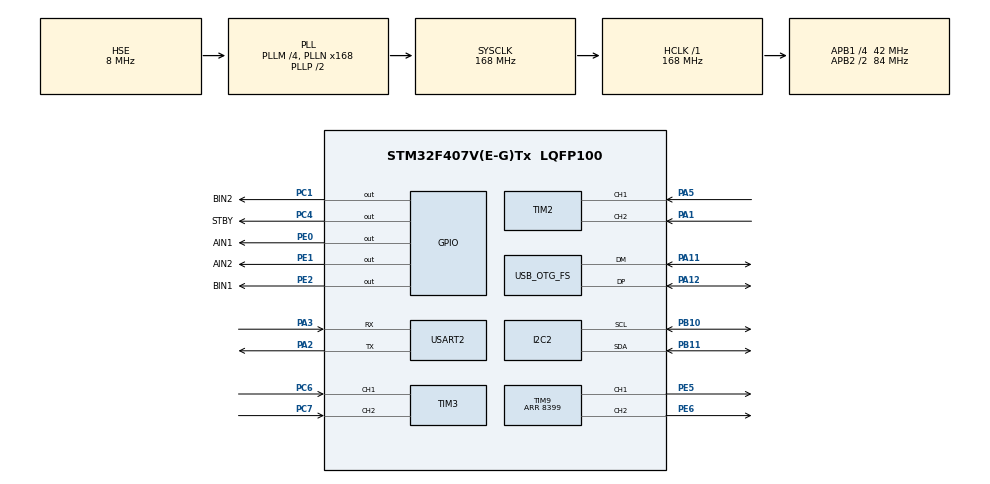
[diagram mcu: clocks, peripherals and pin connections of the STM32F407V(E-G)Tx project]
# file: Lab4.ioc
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I2C2.I2C_Mode=I2C_Fast
Mcu.Family=STM32F4
Mcu.Name=STM32F407V(E-G)Tx
Mcu.Package=LQFP100
NVIC.OTG_FS_IRQn=true\:0\:0\:false\:false\:true\:false\:true\:true
NVIC.PriorityGroup=NVIC_PRIORITYGROUP_4
NVIC.USART2_IRQn=true\:0\:0\:false\:false\:true\:true\:true\:true
PA1.Signal=S_TIM2_CH2
PA11.Mode=Device_Only
PA11.Signal=USB_OTG_FS_DM
PA12.Mode=Device_Only
PA12.Signal=USB_OTG_FS_DP
PA13.Mode=Serial_Wire
PA13.Signal=SYS_JTMS-SWDIO
PA14.Mode=Serial_Wire
PA14.Signal=SYS_JTCK-SWCLK
PA2.Mode=Asynchronous
PA2.Signal=USART2_TX
PA3.Mode=Asynchronous
PA3.Signal=USART2_RX
PA5.Signal=S_TIM2_CH1_ETR
PB10.Mode=I2C
PB10.Signal=I2C2_SCL
PB11.Mode=I2C
PB11.Signal=I2C2_SDA
PC1.GPIO_Label=BIN2
PC1.Signal=GPIO_Output
PC4.GPIO_Label=STBY
PC4.PinState=GPIO_PIN_SET
PC4.Signal=GPIO_Output
PC6.Signal=S_TIM3_CH1
PC7.Signal=S_TIM3_CH2
PE0.GPIO_Label=AIN1
PE0.Signal=GPIO_Output
PE1.GPIO_Label=AIN2
PE1.Signal=GPIO_Output
PE2.GPIO_Label=BIN1
PE2.Signal=GPIO_Output
PE5.Signal=S_TIM9_CH1
PE6.Signal=S_TIM9_CH2
PH0-OSC_IN.Mode=HSE-External-Oscillator
PH0-OSC_IN.Signal=RCC_OSC_IN
PH1-OSC_OUT.Mode=HSE-External-Oscillator
PH1-OSC_OUT.Signal=RCC_OSC_OUT
ProjectManager.HeapSize=0x1000
ProjectManager.StackSize=0x800
ProjectManager.TargetToolchain=STM32CubeIDE
RCC.48MHZClocksFreq_Value=48000000
RCC.AHBFreq_Value=168000000
RCC.APB1CLKDivider=RCC_HCLK_DIV4
RCC.APB1Freq_Value=42000000
RCC.APB1TimFreq_Value=84000000
RCC.APB2CLKDivider=RCC_HCLK_DIV2
RCC.APB2Freq_Value=84000000
RCC.APB2TimFreq_Value=168000000
RCC.CortexFreq_Value=168000000
RCC.HCLKFreq_Value=168000000
RCC.HSE_VALUE=8000000
RCC.HSI_VALUE=16000000
RCC.LSE_VALUE=32768
RCC.PLLM=4
RCC.PLLN=168
RCC.PLLQ=7
RCC.SYSCLKFreq_VALUE=168000000
RCC.SYSCLKSource=RCC_SYSCLKSOURCE_PLLCLK
RCC.VCOOutputFreq_Value=336000000
SH.S_TIM2_CH1_ETR.0=TIM2_CH1,Encoder_Interface
SH.S_TIM2_CH2.0=TIM2_CH2,Encoder_Interface
SH.S_TIM3_CH1.0=TIM3_CH1,Encoder_Interface
SH.S_TIM3_CH2.0=TIM3_CH2,Encoder_Interface
SH.S_TIM9_CH1.0=TIM9_CH1,PWM Generation1 CH1
SH.S_TIM9_CH2.0=TIM9_CH2,PWM Generation2 CH2
TIM2.EncoderMode=TIM_ENCODERMODE_TI12
TIM2.IC1Filter=6
TIM2.IC2Filter=6
TIM3.EncoderMode=TIM_ENCODERMODE_TI12
TIM3.IC1Filter=6
TIM3.IC2Filter=6
TIM9.AutoReloadPreload=TIM_AUTORELOAD_PRELOAD_ENABLE
TIM9.Channel-PWM\ Generation1\ CH1=TIM_CHANNEL_1
TIM9.Channel-PWM\ Generation2\ CH2=TIM_CHANNEL_2
TIM9.Period=8399
USART2.VirtualMode=VM_ASYNC
USB_DEVICE.CLASS_NAME_FS=CDC
USB_DEVICE.VirtualMode-CDC_FS=Cdc
USB_DEVICE.VirtualModeFS=Cdc_FS
USB_OTG_FS.VirtualMode=Device_Only
VP_TIM9_VS_ClockSourceINT.Mode=Internal
VP_USB_DEVICE_VS_USB_DEVICE_CDC_FS.Mode=CDC_FS
board=custom

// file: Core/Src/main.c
/* USER CODE BEGIN Header */
/**
  ******************************************************************************
  * @file           : main.c
  * @brief          : Main program body
  ******************************************************************************
  * @attention
  *
  * Copyright (c) 2026 STMicroelectronics.
  * All rights reserved.
  *
  * This software is licensed under terms that can be found in the LICENSE file
  * in the root directory of this software component.
  * If no LICENSE file comes with this software, it is provided AS-IS.
  *
  ******************************************************************************
  */
/* USER CODE END Header */
#include "main.h"
#include "usb_device.h"

/* USER CODE BEGIN Includes */
#include "usbd_cdc_if.h"
#include <stdio.h>
#include <string.h>

#include "mpu6050.h"
#include <math.h>
#include "motor.h"
#include "balance.h"

#include "comm.h"
/* USER CODE END Includes */

/* USER CODE BEGIN PD */
#define LOOP_CYCLES  (168000000UL / 200UL)   // 5 ms @ 168 MHz

#define WHEEL_CIRC_M  0.21363f   // pi * 0.068 m
#define ENC_CPR_A     900.0f    // DEM/VONG BANH, thay bang so ban do (enc_tim3)
#define ENC_CPR_B     900.0f    // thay bang so ban do (enc_tim2)
#define ENC_SIGN_A    (-1.0f)     // +1 hoac -1
#define ENC_SIGN_B    (-1.0f)

#define YAW_SIGN  (-1.0f)     // doi thanh +1.0f neu yaw_rate bi nguoc (xem buoc 4)

/* USER CODE END PD */

I2C_HandleTypeDef hi2c2;

TIM_HandleTypeDef htim2;
TIM_HandleTypeDef htim3;
TIM_HandleTypeDef htim9;

UART_HandleTypeDef huart2;

/* USER CODE BEGIN PV */
volatile int     mpu_ok  = 0;     // 0 = chua init, 1 = OK, -1 = loi I2C
volatile uint8_t mpu_who = 0;     // gia tri WHO_AM_I
volatile float   ax, ay, az;      // gia toc (g)
volatile float   gx, gy, gz;      // toc do goc (do/giay)
volatile uint32_t read_err = 0;   // so lan doc I2C that bai

volatile float angle = 0;       // goc sau bo loc (do)
volatile float angle_acc = 0;   // goc chi tinh tu accel (do)

volatile float   test_a = 0, test_b = 0;   // -1.0 .. 1.0 (bat dau thu voi 0.2)
volatile int32_t enc_tim3 = 0, enc_tim2 = 0;

volatile float v_a = 0, v_b = 0, v_f = 0;   // m/s, duong = ve phia am

volatile float yaw_rate = 0;  // do/giay, duong = dang re phai

/* USER CODE END PV */

void SystemClock_Config(void);
static void MX_GPIO_Init(void);
static void MX_TIM2_Init(void);
static void MX_TIM3_Init(void);
static void MX_TIM9_Init(void);
static void MX_I2C2_Init(void);
static void MX_USART2_UART_Init(void);

int main(void)
{

  /* MCU Configuration--------------------------------------------------------*/

  /* Reset of all peripherals, Initializes the Flash interface and the Systick. */
  HAL_Init();

  /* Configure the system clock */
  SystemClock_Config();

  /* Initialize all configured peripherals */
  MX_GPIO_Init();
  MX_TIM2_Init();
  MX_TIM3_Init();
  MX_TIM9_Init();
  MX_USB_DEVICE_Init();
  MX_I2C2_Init();
  MX_USART2_UART_Init();
  /* USER CODE BEGIN 2 */
  uint8_t who = 0;
  if (MPU6050_Init(&hi2c2, &who) == HAL_OK) {
      mpu_who = who;
      mpu_ok = 1;
      HAL_Delay(1500);                       // giu xe dung yen
      MPU6050_CalibrateGyro(&hi2c2, 500);
  } else {
      mpu_ok = -1;
  }

  Motor_Init(&htim9);
  HAL_TIM_Encoder_Start(&htim3, TIM_CHANNEL_ALL);
  HAL_TIM_Encoder_Start(&htim2, TIM_CHANNEL_ALL);

  Balance_Init();
  CoreDebug->DEMCR |= CoreDebug_DEMCR_TRCENA_Msk;
  DWT->CYCCNT = 0;
  DWT->CTRL |= DWT_CTRL_CYCCNTENA_Msk;

  Comm_Init(&huart2);
  /* USER CODE END 2 */

  /* Infinite loop */
  /* USER CODE BEGIN WHILE */
  MPU6050_Data d;
    uint32_t t_prev = DWT->CYCCNT;
    uint8_t  first = 1;
    int      fail = 0;
    uint16_t last3 = (uint16_t)__HAL_TIM_GET_COUNTER(&htim3);
    uint32_t last2 = __HAL_TIM_GET_COUNTER(&htim2);
  while (1)
  {
	  // doi du 5 ms (200 Hz)
	       while ((DWT->CYCCNT - t_prev) < LOOP_CYCLES) {}
	       uint32_t now = DWT->CYCCNT;
	       float dt = (now - t_prev) / 168000000.0f;
	       t_prev = now;

	       // 1. doc MPU va tinh goc
	       if (mpu_ok == 1 && MPU6050_Read(&hi2c2, &d) == HAL_OK) {
	           fail = 0;
	           ax = d.ax; ay = d.ay; az = d.az;
	           gx = d.gx; gy = d.gy; gz = d.gz;
	           yaw_rate = YAW_SIGN * d.gz;
	           angle_acc = atan2f(d.ay, d.az) * 57.29578f;
	           if (first) { angle = angle_acc; first = 0; }
	           else       angle = 0.98f * (angle + d.gx * dt) + 0.02f * angle_acc;
	       } else {
	           read_err++;
	           fail++;
	       }

	       // 2. doc encoder va tinh toc do (m/s)
	       uint16_t c3 = (uint16_t)__HAL_TIM_GET_COUNTER(&htim3);
	       uint32_t c2 = __HAL_TIM_GET_COUNTER(&htim2);
	       int16_t  d3 = (int16_t)(c3 - last3);  last3 = c3;
	       int32_t  d2 = (int32_t)(c2 - last2);  last2 = c2;
	       v_a = ENC_SIGN_A * (d3 / ENC_CPR_A) * WHEEL_CIRC_M / dt;
	       v_b = ENC_SIGN_B * (d2 / ENC_CPR_B) * WHEEL_CIRC_M / dt;
	       v_f += 0.2f * (0.5f * (v_a + v_b) - v_f);

	       // 3. can bang (vong goc + vong toc do neu spd_on = 1)
	       Balance_Update(angle, gx, dt, fail < 3, v_f, yaw_rate);
	       Comm_Process(HAL_GetTick());

	       enc_tim3 = (int16_t)c3;
	       enc_tim2 = (int32_t)c2;
    /* USER CODE END WHILE */

  }
}

void SystemClock_Config(void)
{
  RCC_OscInitTypeDef RCC_OscInitStruct = {0};
  RCC_ClkInitTypeDef RCC_ClkInitStruct = {0};

  /** Configure the main internal regulator output voltage
  */
  __HAL_RCC_PWR_CLK_ENABLE();
  __HAL_PWR_VOLTAGESCALING_CONFIG(PWR_REGULATOR_VOLTAGE_SCALE1);

  /** Initializes the RCC Oscillators according to the specified parameters
  * in the RCC_OscInitTypeDef structure.
  */
  RCC_OscInitStruct.OscillatorType = RCC_OSCILLATORTYPE_HSE;
  RCC_OscInitStruct.HSEState = RCC_HSE_ON;
  RCC_OscInitStruct.PLL.PLLState = RCC_PLL_ON;
  RCC_OscInitStruct.PLL.PLLSource = RCC_PLLSOURCE_HSE;
  RCC_OscInitStruct.PLL.PLLM = 4;
  RCC_OscInitStruct.PLL.PLLN = 168;
  RCC_OscInitStruct.PLL.PLLP = RCC_PLLP_DIV2;
  RCC_OscInitStruct.PLL.PLLQ = 7;
  if (HAL_RCC_OscConfig(&RCC_OscInitStruct) != HAL_OK)
  {
    Error_Handler();
  }

  /** Initializes the CPU, AHB and APB buses clocks
  */
  RCC_ClkInitStruct.ClockType = RCC_CLOCKTYPE_HCLK|RCC_CLOCKTYPE_SYSCLK
                              |RCC_CLOCKTYPE_PCLK1|RCC_CLOCKTYPE_PCLK2;
  RCC_ClkInitStruct.SYSCLKSource = RCC_SYSCLKSOURCE_PLLCLK;
  RCC_ClkInitStruct.AHBCLKDivider = RCC_SYSCLK_DIV1;
  RCC_ClkInitStruct.APB1CLKDivider = RCC_HCLK_DIV4;
  RCC_ClkInitStruct.APB2CLKDivider = RCC_HCLK_DIV2;

  if (HAL_RCC_ClockConfig(&RCC_ClkInitStruct, FLASH_LATENCY_5) != HAL_OK)
  {
    Error_Handler();
  }
}

static void MX_I2C2_Init(void)
{

  hi2c2.Instance = I2C2;
  hi2c2.Init.ClockSpeed = 400000;
  hi2c2.Init.DutyCycle = I2C_DUTYCYCLE_2;
  hi2c2.Init.OwnAddress1 = 0;
  hi2c2.Init.AddressingMode = I2C_ADDRESSINGMODE_7BIT;
  hi2c2.Init.DualAddressMode = I2C_DUALADDRESS_DISABLE;
  hi2c2.Init.OwnAddress2 = 0;
  hi2c2.Init.GeneralCallMode = I2C_GENERALCALL_DISABLE;
  hi2c2.Init.NoStretchMode = I2C_NOSTRETCH_DISABLE;
  if (HAL_I2C_Init(&hi2c2) != HAL_OK)
  {
    Error_Handler();
  }

}

static void MX_TIM2_Init(void)
{

  TIM_Encoder_InitTypeDef sConfig = {0};
  TIM_MasterConfigTypeDef sMasterConfig = {0};

  htim2.Instance = TIM2;
  htim2.Init.Prescaler = 0;
  htim2.Init.CounterMode = TIM_COUNTERMODE_UP;
  htim2.Init.Period = 4294967295;
  htim2.Init.ClockDivision = TIM_CLOCKDIVISION_DIV1;
  htim2.Init.AutoReloadPreload = TIM_AUTORELOAD_PRELOAD_DISABLE;
  sConfig.EncoderMode = TIM_ENCODERMODE_TI12;
  sConfig.IC1Polarity = TIM_ICPOLARITY_RISING;
  sConfig.IC1Selection = TIM_ICSELECTION_DIRECTTI;
  sConfig.IC1Prescaler = TIM_ICPSC_DIV1;
  sConfig.IC1Filter = 6;
  sConfig.IC2Polarity = TIM_ICPOLARITY_RISING;
  sConfig.IC2Selection = TIM_ICSELECTION_DIRECTTI;
  sConfig.IC2Prescaler = TIM_ICPSC_DIV1;
  sConfig.IC2Filter = 6;
  if (HAL_TIM_Encoder_Init(&htim2, &sConfig) != HAL_OK)
  {
    Error_Handler();
  }
  sMasterConfig.MasterOutputTrigger = TIM_TRGO_RESET;
  sMasterConfig.MasterSlaveMode = TIM_MASTERSLAVEMODE_DISABLE;
  if (HAL_TIMEx_MasterConfigSynchronization(&htim2, &sMasterConfig) != HAL_OK)
  {
    Error_Handler();
  }

}

static void MX_TIM3_Init(void)
{

  TIM_Encoder_InitTypeDef sConfig = {0};
  TIM_MasterConfigTypeDef sMasterConfig = {0};

  htim3.Instance = TIM3;
  htim3.Init.Prescaler = 0;
  htim3.Init.CounterMode = TIM_COUNTERMODE_UP;
  htim3.Init.Period = 65535;
  htim3.Init.ClockDivision = TIM_CLOCKDIVISION_DIV1;
  htim3.Init.AutoReloadPreload = TIM_AUTORELOAD_PRELOAD_DISABLE;
  sConfig.EncoderMode = TIM_ENCODERMODE_TI12;
  sConfig.IC1Polarity = TIM_ICPOLARITY_RISING;
  sConfig.IC1Selection = TIM_ICSELECTION_DIRECTTI;
  sConfig.IC1Prescaler = TIM_ICPSC_DIV1;
  sConfig.IC1Filter = 6;
  sConfig.IC2Polarity = TIM_ICPOLARITY_RISING;
  sConfig.IC2Selection = TIM_ICSELECTION_DIRECTTI;
  sConfig.IC2Prescaler = TIM_ICPSC_DIV1;
  sConfig.IC2Filter = 6;
  if (HAL_TIM_Encoder_Init(&htim3, &sConfig) != HAL_OK)
  {
    Error_Handler();
  }
  sMasterConfig.MasterOutputTrigger = TIM_TRGO_RESET;
  sMasterConfig.MasterSlaveMode = TIM_MASTERSLAVEMODE_DISABLE;
  if (HAL_TIMEx_MasterConfigSynchronization(&htim3, &sMasterConfig) != HAL_OK)
  {
    Error_Handler();
  }

}

static void MX_TIM9_Init(void)
{

  TIM_ClockConfigTypeDef sClockSourceConfig = {0};
  TIM_OC_InitTypeDef sConfigOC = {0};

  htim9.Instance = TIM9;
  htim9.Init.Prescaler = 0;
  htim9.Init.CounterMode = TIM_COUNTERMODE_UP;
  htim9.Init.Period = 8399;
  htim9.Init.ClockDivision = TIM_CLOCKDIVISION_DIV1;
  htim9.Init.AutoReloadPreload = TIM_AUTORELOAD_PRELOAD_ENABLE;
  if (HAL_TIM_Base_Init(&htim9) != HAL_OK)
  {
    Error_Handler();
  }
  sClockSourceConfig.ClockSource = TIM_CLOCKSOURCE_INTERNAL;
  if (HAL_TIM_ConfigClockSource(&htim9, &sClockSourceConfig) != HAL_OK)
  {
    Error_Handler();
  }
  if (HAL_TIM_PWM_Init(&htim9) != HAL_OK)
  {
    Error_Handler();
  }
  sConfigOC.OCMode = TIM_OCMODE_PWM1;
  sConfigOC.Pulse = 0;
  sConfigOC.OCPolarity = TIM_OCPOLARITY_HIGH;
  sConfigOC.OCFastMode = TIM_OCFAST_DISABLE;
  if (HAL_TIM_PWM_ConfigChannel(&htim9, &sConfigOC, TIM_CHANNEL_1) != HAL_OK)
  {
    Error_Handler();
  }
  if (HAL_TIM_PWM_ConfigChannel(&htim9, &sConfigOC, TIM_CHANNEL_2) != HAL_OK)
  {
    Error_Handler();
  }
  HAL_TIM_MspPostInit(&htim9);

}

static void MX_USART2_UART_Init(void)
{

  huart2.Instance = USART2;
  huart2.Init.BaudRate = 115200;
  huart2.Init.WordLength = UART_WORDLENGTH_8B;
  huart2.Init.StopBits = UART_STOPBITS_1;
  huart2.Init.Parity = UART_PARITY_NONE;
  huart2.Init.Mode = UART_MODE_TX_RX;
  huart2.Init.HwFlowCtl = UART_HWCONTROL_NONE;
  huart2.Init.OverSampling = UART_OVERSAMPLING_16;
  if (HAL_UART_Init(&huart2) != HAL_OK)
  {
    Error_Handler();
  }

}

static void MX_GPIO_Init(void)
{
  GPIO_InitTypeDef GPIO_InitStruct = {0};

  /* GPIO Ports Clock Enable */
  __HAL_RCC_GPIOE_CLK_ENABLE();
  __HAL_RCC_GPIOH_CLK_ENABLE();
  __HAL_RCC_GPIOC_CLK_ENABLE();
  __HAL_RCC_GPIOA_CLK_ENABLE();
  __HAL_RCC_GPIOB_CLK_ENABLE();

  /*Configure GPIO pin Output Level */
  HAL_GPIO_WritePin(GPIOE, BIN1_Pin|AIN1_Pin|AIN2_Pin, GPIO_PIN_RESET);

  /*Configure GPIO pin Output Level */
  HAL_GPIO_WritePin(BIN2_GPIO_Port, BIN2_Pin, GPIO_PIN_RESET);

  /*Configure GPIO pin Output Level */
  HAL_GPIO_WritePin(STBY_GPIO_Port, STBY_Pin, GPIO_PIN_SET);

  /*Configure GPIO pins : BIN1_Pin AIN1_Pin AIN2_Pin */
  GPIO_InitStruct.Pin = BIN1_Pin|AIN1_Pin|AIN2_Pin;
  GPIO_InitStruct.Mode = GPIO_MODE_OUTPUT_PP;
  GPIO_InitStruct.Pull = GPIO_NOPULL;
  GPIO_InitStruct.Speed = GPIO_SPEED_FREQ_LOW;
  HAL_GPIO_Init(GPIOE, &GPIO_InitStruct);

  /*Configure GPIO pins : BIN2_Pin STBY_Pin */
  GPIO_InitStruct.Pin = BIN2_Pin|STBY_Pin;
  GPIO_InitStruct.Mode = GPIO_MODE_OUTPUT_PP;
  GPIO_InitStruct.Pull = GPIO_NOPULL;
  GPIO_InitStruct.Speed = GPIO_SPEED_FREQ_LOW;
  HAL_GPIO_Init(GPIOC, &GPIO_InitStruct);

}

void Error_Handler(void)
{
  __disable_irq();
  while (1)
  {
  }
}
